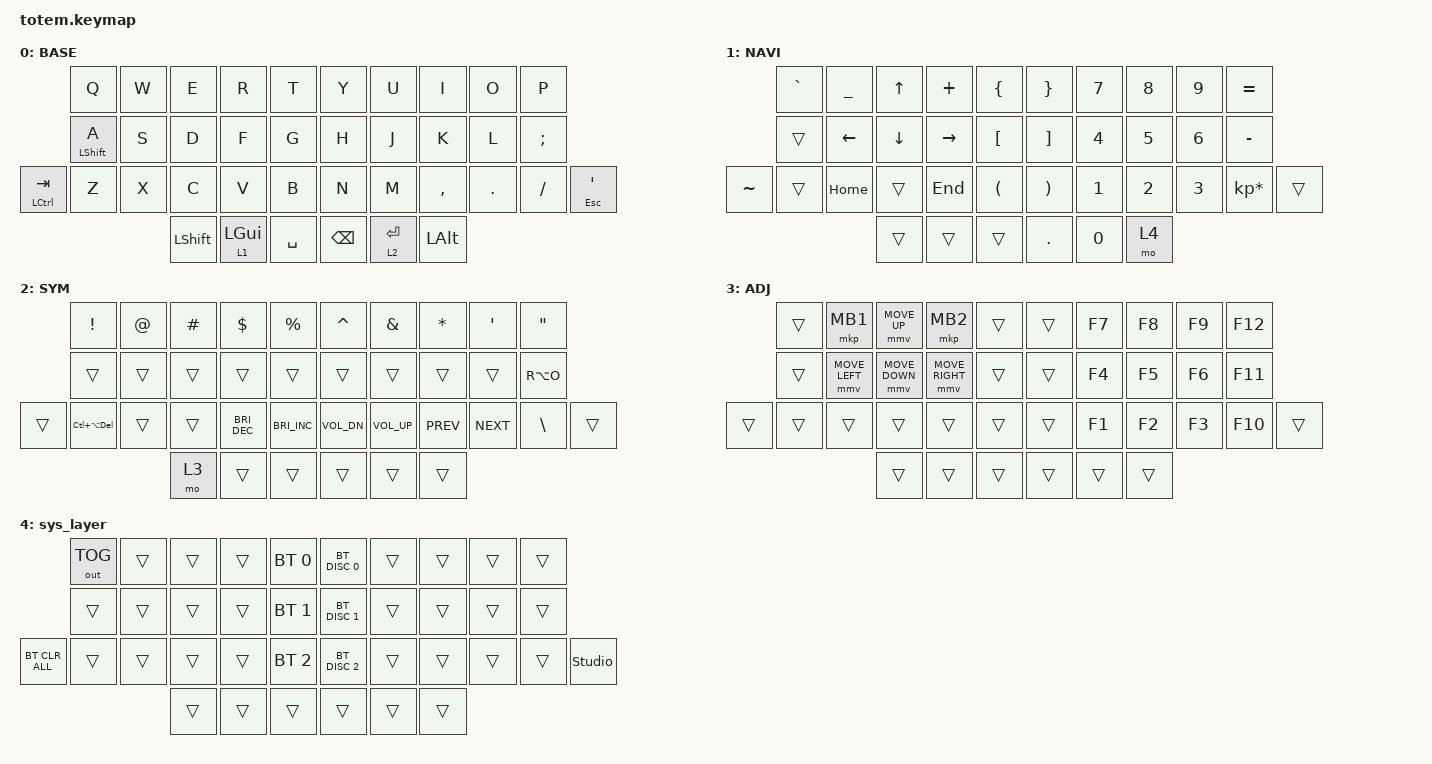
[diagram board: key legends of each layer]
//
//                                                        ▀▀▀▀▀     ▀▀▀▀▀          ▀▀█▀▀
//                                                        ▄▀▀▀▄  ▄  ▄▀▀▀▄  ▄  ▄▀▀▀▄  █  ▄▀▀▀▄
//                                                        █   █  █  █   █  █  █   █  █  █   █
//                                                         ▀▀▀   █   ▀▀▀   █   ▀▀▀   ▀   ▀▀▀
//                                                               █      ▄▄▄█▄▄▄    █   █  
//                                                               ▀      █  █  █     █▄█
//                                                             ▀▀▀▀▀    █  █  █      ▀
//                                                                      ▀  ▀  ▀
//
// ▄▄▄▄▄▄▄▄▄▄▄▄▄▄▄▄▄▄▄▄▄▄▄▄▄▄▄▄▄▄▄▄▄▄▄▄▄▄▄▄▄▄▄▄▄▄▄▄▄▄▄▄▄▄▄▄▄▄▄▄▄▄▄▄▄▄▄▄▄▄▄▄▄▄▄▄▄▄▄▄▄▄▄▄▄▄▄▄▄▄▄▄▄▄▄▄▄▄▄▄▄▄▄▄▄▄▄▄▄▄▄▄▄▄▄▄▄▄▄▄▄▄▄▄▄▄▄▄▄▄▄▄▄▄▄▄▄▄▄▄▄▄▄▄▄▄▄▄▄

#include <behaviors.dtsi>
#include <dt-bindings/zmk/bt.h>
#include <dt-bindings/zmk/keys.h>
#include <dt-bindings/zmk/outputs.h>
#include <dt-bindings/zmk/pointing.h>

#define BASE 0
#define NAV  1
#define SYM  2
#define ADJ  3
#define TVP1 4
#define TVP2 5

&mt {
    quick-tap-ms = <150>;
    global-quick-tap;
    flavor = "tap-preferred";
    tapping-term-ms = <170>;
};

/ {
    combos {
        compatible = "zmk,combos";

        combo_esc {
            timeout-ms = <60>;
            key-positions = <0 1>;
            bindings = <&kp TAB>;
            require-prior-idle-ms = <120>;
        };

        dash {
            bindings = <&kp MINUS>;
            key-positions = <19 31>;
            timeout-ms = <70>;
        };

        tilde_combo {
            bindings = <&kp TILDE>;
            key-positions = <0 20>;
            timeout-ms = <60>;
            require-prior-idle-ms = <100>;
        };

        enter_combo {
            bindings = <&kp ENTER>;
            key-positions = <13 12 11>;
            timeout-ms = <70>;
            require-prior-idle-ms = <100>;
        };

        enter_right_combo {
            bindings = <&kp ENTER>;
            key-positions = <16 18 17>;
            timeout-ms = <70>;
            require-prior-idle-ms = <100>;
        };

        russian_letter_ {
            bindings = <&kp RIGHT_BRACKET>;
            key-positions = <8 9>;
            timeout-ms = <20>;
            require-prior-idle-ms = <100>;
        };

        russian_letter_x {
            bindings = <&kp LEFT_BRACKET>;
            key-positions = <8 7>;
            require-prior-idle-ms = <100>;
            timeout-ms = <20>;
        };
    };

    behaviors {
        mt_left: mt_left {
            compatible = "zmk,behavior-hold-tap";
            label = "MT_LEFT";
            bindings = <&kp>, <&kp>;

            #binding-cells = <2>;
            tapping-term-ms = <400>;
            quick-tap-ms = <170>;
            flavor = "balanced";
            hold-trigger-key-positions = <26 27 16 15 5 6 7 5 6 7 8 9 15 16 17 18 19 26 27 28 29 31 5 6 7 8 9 15 16 17 18 19 26 27 28 29 30 31 35 36 37 32 33 34>;
            require-prior-idle-ms = <50>;
            hold-trigger-on-release;
        };

        mt_right: mt_right {
            compatible = "zmk,behavior-hold-tap";
            label = "MT_RIGHT";
            bindings = <&kp>, <&kp>;

            #binding-cells = <2>;
            tapping-term-ms = <400>;
            quick-tap-ms = <170>;
            flavor = "balanced";
            require-prior-idle-ms = <50>;
            hold-trigger-on-release;
            hold-trigger-key-positions = <0 1 4 10 11 12 13 14 20 21 22 23 24 25 2 35 36 37 3 32 33 34>;
        };

        mt_thumb: mt_thumb {
            compatible = "zmk,behavior-hold-tap";
            label = "MT_THUMB";
            bindings = <&kp>, <&kp>;

            #binding-cells = <2>;
            quick-tap-ms = <220>;
            flavor = "balanced";
            tapping-term-ms = <100>;
            require-prior-idle-ms = <0>;
        };

        mt_shift_left: mt_shift_left {
            compatible = "zmk,behavior-hold-tap";
            label = "MT_SHIFT_LEFT";
            bindings = <&kp>, <&kp>;

            #binding-cells = <2>;
            tapping-term-ms = <175>;
            quick-tap-ms = <175>;
            flavor = "tap-preferred";
            hold-trigger-key-positions = <19 26 27 29 30 31 36 37 35 36 32 33 34 5 6 7 8 9 15 16 17 18 19 26 27 28 29 31>;
            require-prior-idle-ms = <20>;
        };

        mt_shift_right: mt_shift_right {
            compatible = "zmk,behavior-hold-tap";
            label = "MT_SHIFT_RIGHT";
            bindings = <&kp>, <&kp>;

            #binding-cells = <2>;
            tapping-term-ms = <175>;
            quick-tap-ms = <175>;
            flavor = "tap-preferred";
            hold-trigger-key-positions = <0 1 2 3 4 10 11 12 13 14 20 21 22 23 24 25 32 33 34 35 36 37>;
            require-prior-idle-ms = <20>;
        };

        hold_sticky: hold_sticky {
            compatible = "zmk,behavior-hold-tap";
            label = "HOLD_STICKY";
            bindings = <&kp>, <&sk>;

            #binding-cells = <2>;
            flavor = "hold-preferred";
            tapping-term-ms = <150>;
            quick-tap-ms = <220>;
        };

        mt_all: mt_all {
            compatible = "zmk,behavior-hold-tap";
            label = "MT_ALL";
            bindings = <&kp>, <&kp>;

            #binding-cells = <2>;
            tapping-term-ms = <175>;
            quick-tap-ms = <175>;
            flavor = "balanced";
            require-prior-idle-ms = <35>;
            hold-trigger-on-release;
        };
    };

    keymap {
        compatible = "zmk,keymap";

        // ▄▄▄▄▄▄▄▄▄▄▄▄▄▄▄▄▄▄▄▄▄▄▄▄▄▄▄▄▄▄▄▄▄▄▄▄▄▄▄▄▄▄▄▄▄▄▄▄▄▄▄▄▄▄▄▄▄▄▄▄▄▄▄▄▄▄▄▄▄▄▄▄▄▄▄▄▄▄▄▄▄▄▄▄▄▄▄▄▄▄▄▄▄▄▄▄▄▄▄▄▄▄▄▄▄▄▄▄▄▄▄▄▄▄▄▄▄▄▄▄▄▄▄▄▄▄▄▄▄▄▄▄▄▄▄▄▄▄▄▄▄▄▄▄▄▄▄▄▄

        base_layer {
            // ┏━━━━━━━━━━━━━━━━━━━━━━━━━━━━━━━━━━━━━━━┓

            label = "BASE";

            // ┗━━━━━━━━━━━━━━━━━━━━━━━━━━━━━━━━━━━━━━━┛
            //             ┏━━━━━━━━━━━┳━━━━━━━━━━━┳━━━━━━━━━━━┳━━━━━━━━━━━┳━━━━━━━━━━━┓   ┏━━━━━━━━━━━┳━━━━━━━━━━━┳━━━━━━━━━━━┳━━━━━━━━━━━┳━━━━━━━━━━━┓
            //             ┃     Q     ┃     W     ┃     F     ┃     P     ┃     G     ┃   ┃     J     ┃     L     ┃     U     ┃     Y     ┃     ;     ┃
            //             ┣━━━━━━━━━━━╋━━━━━━━━━━━╋━━━━━━━━━━━╋━━━━━━━━━━━╋━━━━━━━━━━━┫   ┣━━━━━━━━━━━╋━━━━━━━━━━━╋━━━━━━━━━━━╋━━━━━━━━━━━╋━━━━━━━━━━━┫
            //             ┃     A     ┃     R     ┃     S     ┃     T     ┃     D     ┃   ┃     H     ┃     N     ┃     E     ┃     I     ┃     O     ┃
            // ┏━━━━━━━━━━━╋━━━━━━━━━━━╋━━━━━━━━━━━╋━━━━━━━━━━━╋━━━━━━━━━━━╋━━━━━━━━━━━┫   ┣━━━━━━━━━━━╋━━━━━━━━━━━╋━━━━━━━━━━━╋━━━━━━━━━━━╋━━━━━━━━━━━╋━━━━━━━━━━━┓
            // ┃     Q     ┃     Z     ┃     X     ┃     C     ┃     V     ┃     B     ┃   ┃     K     ┃     M     ┃     ,     ┃     .     ┃     /     ┃     \     ┃
            // ┗━━━━━━━━━━━┻━━━━━━━━━━━┻━━━━━━━━━━━╋━━━━━━━━━━━╋━━━━━━━━━━━╋━━━━━━━━━━━┫   ┣━━━━━━━━━━━╋━━━━━━━━━━━╋━━━━━━━━━━━╋━━━━━━━━━━━┻━━━━━━━━━━━┻━━━━━━━━━━━┛
            //                                     ┃    DEL    ┃    TAB    ┃    SPC    ┃   ┃   ENTER   ┃           ┃   BSPC    ┃
            //                                     ┗━━━━━━━━━━━┻━━━━━━━━━━━┻━━━━━━━━━━━┛   ┗━━━━━━━━━━━┻━━━━━━━━━━━┻━━━━━━━━━━━┛

            bindings = <
                      &kp Q             &kp W  &kp E           &kp R       &kp T        &kp Y          &kp U        &kp I         &kp O    &kp P
                      &mt LEFT_SHIFT A  &kp S  &kp D           &kp F       &kp G        &kp H          &kp J        &kp K         &kp L    &kp SEMICOLON
&mt LEFT_CONTROL TAB  &kp Z             &kp X  &kp C           &kp V       &kp B        &kp N          &kp M        &kp COMMA     &kp DOT  &kp FSLH       &mt ESCAPE SQT
                                               &kp LEFT_SHIFT  &lt 1 LGUI  &kp SPACE    &kp BACKSPACE  &lt 2 ENTER  &kp LEFT_ALT
            >;
        };

        // ▄▄▄▄▄▄▄▄▄▄▄▄▄▄▄▄▄▄▄▄▄▄▄▄▄▄▄▄▄▄▄▄▄▄▄▄▄▄▄▄▄▄▄▄▄▄▄▄▄▄▄▄▄▄▄▄▄▄▄▄▄▄▄▄▄▄▄▄▄▄▄▄▄▄▄▄▄▄▄▄▄▄▄▄▄▄▄▄▄▄▄▄▄▄▄▄▄▄▄▄▄▄▄▄▄▄▄▄▄▄▄▄▄▄▄▄▄▄▄▄▄▄▄▄▄▄▄▄▄▄▄▄▄▄▄▄▄▄▄▄▄▄▄▄▄▄▄▄▄

        nav_layer {
            // ┏━━━━━━━━━━━━━━━━━━━━━━━━━━━━━━━━━━━━━━━┓

            label = "NAVI";

            // ┗━━━━━━━━━━━━━━━━━━━━━━━━━━━━━━━━━━━━━━━┛
            //             ┏━━━━━━━━━━━┳━━━━━━━━━━━┳━━━━━━━━━━━┳━━━━━━━━━━━┳━━━━━━━━━━━┓   ┏━━━━━━━━━━━┳━━━━━━━━━━━┳━━━━━━━━━━━┳━━━━━━━━━━━┳━━━━━━━━━━━┓
            //             ┃           ┃           ┃     UP    ┃           ┃     {     ┃   ┃     }     ┃     7     ┃     8     ┃     9     ┃     +     ┃
            //             ┣━━━━━━━━━━━╋━━━━━━━━━━━╋━━━━━━━━━━━╋━━━━━━━━━━━╋━━━━━━━━━━━┫   ┣━━━━━━━━━━━╋━━━━━━━━━━━╋━━━━━━━━━━━╋━━━━━━━━━━━╋━━━━━━━━━━━┫
            //             ┃   SHIFT   ┃   LEFT    ┃    DOWN   ┃   RIGHT   ┃     [     ┃   ┃     ]     ┃     4     ┃     5     ┃     6     ┃     -     ┃
            // ┏━━━━━━━━━━━╋━━━━━━━━━━━╋━━━━━━━━━━━╋━━━━━━━━━━━╋━━━━━━━━━━━╋━━━━━━━━━━━┫   ┣━━━━━━━━━━━╋━━━━━━━━━━━╋━━━━━━━━━━━╋━━━━━━━━━━━╋━━━━━━━━━━━╋━━━━━━━━━━━┓
            // ┃           ┃           ┃   P UP    ┃  C LOCK   ┃  P DOWN   ┃     (     ┃   ┃     )     ┃     1     ┃     2     ┃     3     ┃     *     ┃           ┃
            // ┗━━━━━━━━━━━┻━━━━━━━━━━━┻━━━━━━━━━━━╋━━━━━━━━━━━╋━━━━━━━━━━━╋━━━━━━━━━━━┫   ┣━━━━━━━━━━━╋━━━━━━━━━━━╋━━━━━━━━━━━╋━━━━━━━━━━━┻━━━━━━━━━━━┻━━━━━━━━━━━┛
            //                                     ┃           ┃    TAB    ┃    SPC    ┃   ┃    DEL    ┃     0     ┃           ┃
            //                                     ┗━━━━━━━━━━━┻━━━━━━━━━━━┻━━━━━━━━━━━┛   ┗━━━━━━━━━━━┻━━━━━━━━━━━┻━━━━━━━━━━━┛

            bindings = <
           &kp GRAVE  &kp UNDER       &kp UP          &kp PLUS         &kp LBRC    &kp RBRC    &kp N7        &kp N8  &kp N9        &kp EQUAL
           &trans     &kp LEFT_ARROW  &kp DOWN_ARROW  &kp RIGHT_ARROW  &kp LBKT    &kp RBKT    &kp NUMBER_4  &kp N5  &kp NUMBER_6  &kp MINUS
&kp TILDE  &trans     &kp HOME        &trans          &kp END          &kp LPAR    &kp RPAR    &kp NUMBER_1  &kp N2  &kp N3        &kp KP_MULTIPLY  &trans
                                      &trans          &trans           &trans      &kp PERIOD  &kp N0        &mo 4
            >;
        };

        // ▄▄▄▄▄▄▄▄▄▄▄▄▄▄▄▄▄▄▄▄▄▄▄▄▄▄▄▄▄▄▄▄▄▄▄▄▄▄▄▄▄▄▄▄▄▄▄▄▄▄▄▄▄▄▄▄▄▄▄▄▄▄▄▄▄▄▄▄▄▄▄▄▄▄▄▄▄▄▄▄▄▄▄▄▄▄▄▄▄▄▄▄▄▄▄▄▄▄▄▄▄▄▄▄▄▄▄▄▄▄▄▄▄▄▄▄▄▄▄▄▄▄▄▄▄▄▄▄▄▄▄▄▄▄▄▄▄▄▄▄▄▄▄▄▄▄▄▄▄

        sim_layer {
            // ┏━━━━━━━━━━━━━━━━━━━━━━━━━━━━━━━━━━━━━━━┓

            label = "SYM";

            // ┗━━━━━━━━━━━━━━━━━━━━━━━━━━━━━━━━━━━━━━━┛
            //             ┏━━━━━━━━━━━┳━━━━━━━━━━━┳━━━━━━━━━━━┳━━━━━━━━━━━┳━━━━━━━━━━━┓   ┏━━━━━━━━━━━┳━━━━━━━━━━━┳━━━━━━━━━━━┳━━━━━━━━━━━┳━━━━━━━━━━━┓
            //             ┃     !     ┃     @     ┃     #     ┃     $     ┃     %     ┃   ┃     ˆ     ┃     &     ┃     Ü     ┃     '     ┃     "     ┃
            //             ┣━━━━━━━━━━━╋━━━━━━━━━━━╋━━━━━━━━━━━╋━━━━━━━━━━━╋━━━━━━━━━━━┫   ┣━━━━━━━━━━━╋━━━━━━━━━━━╋━━━━━━━━━━━╋━━━━━━━━━━━╋━━━━━━━━━━━┫
            //             ┃     Ä     ┃           ┃    SZ     ┃           ┃           ┃   ┃   MUTE    ┃   YEN     ┃   EURO    ┃  POUND    ┃     Ö     ┃
            // ┏━━━━━━━━━━━╋━━━━━━━━━━━╋━━━━━━━━━━━╋━━━━━━━━━━━╋━━━━━━━━━━━╋━━━━━━━━━━━┫   ┣━━━━━━━━━━━╋━━━━━━━━━━━╋━━━━━━━━━━━╋━━━━━━━━━━━╋━━━━━━━━━━━╋━━━━━━━━━━━┓
            // ┃           ┃  EMAIL1   ┃  EMAIL2   ┃           ┃           ┃           ┃   ┃   VOL-    ┃   VOL+    ┃   LAST    ┃   NEXT    ┃     \     ┃           ┃
            // ┗━━━━━━━━━━━┻━━━━━━━━━━━┻━━━━━━━━━━━╋━━━━━━━━━━━╋━━━━━━━━━━━╋━━━━━━━━━━━┫   ┣━━━━━━━━━━━╋━━━━━━━━━━━╋━━━━━━━━━━━╋━━━━━━━━━━━┻━━━━━━━━━━━┻━━━━━━━━━━━┛
            //                                     ┃           ┃    GIF    ┃    ADJ    ┃   ┃           ┃           ┃           ┃
            //                                     ┗━━━━━━━━━━━┻━━━━━━━━━━━┻━━━━━━━━━━━┛   ┗━━━━━━━━━━━┻━━━━━━━━━━━┻━━━━━━━━━━━┛

            bindings = <
        &kp EXCL            &kp AT  &kp HASH  &kp DLLR       &kp PRCNT               &kp CARET     &kp AMPS      &kp ASTERISK  &kp SQT     &kp DQT
        &trans              &trans  &trans    &trans         &trans                  &trans        &trans        &trans        &trans      &kp RA(O)
&trans  &kp LC(LA(DELETE))  &trans  &trans    &kp C_BRI_DEC  &kp C_BRIGHTNESS_INC    &kp C_VOL_DN  &kp C_VOL_UP  &kp C_PREV    &kp C_NEXT  &kp BSLH   &trans
                                    &mo 3     &trans         &trans                  &trans        &trans        &trans
            >;
        };

        // ▄▄▄▄▄▄▄▄▄▄▄▄▄▄▄▄▄▄▄▄▄▄▄▄▄▄▄▄▄▄▄▄▄▄▄▄▄▄▄▄▄▄▄▄▄▄▄▄▄▄▄▄▄▄▄▄▄▄▄▄▄▄▄▄▄▄▄▄▄▄▄▄▄▄▄▄▄▄▄▄▄▄▄▄▄▄▄▄▄▄▄▄▄▄▄▄▄▄▄▄▄▄▄▄▄▄▄▄▄▄▄▄▄▄▄▄▄▄▄▄▄▄▄▄▄▄▄▄▄▄▄▄▄▄▄▄▄▄▄▄▄▄▄▄▄▄▄▄▄

        adjust_layer {
            // ┏━━━━━━━━━━━━━━━━━━━━━━━━━━━━━━━━━━━━━━━┓

            label = "ADJ";

            // ┗━━━━━━━━━━━━━━━━━━━━━━━━━━━━━━━━━━━━━━━┛
            //             ┏━━━━━━━━━━━┳━━━━━━━━━━━┳━━━━━━━━━━━┳━━━━━━━━━━━┳━━━━━━━━━━━┓   ┏━━━━━━━━━━━┳━━━━━━━━━━━┳━━━━━━━━━━━┳━━━━━━━━━━━┳━━━━━━━━━━━┓
            //             ┃   RESET   ┃ BT CLEAR  ┃  OUT TOG  ┃           ┃           ┃   ┃           ┃    F7     ┃    F8     ┃    F9     ┃    F12    ┃
            //             ┣━━━━━━━━━━━╋━━━━━━━━━━━╋━━━━━━━━━━━╋━━━━━━━━━━━╋━━━━━━━━━━━┫   ┣━━━━━━━━━━━╋━━━━━━━━━━━╋━━━━━━━━━━━╋━━━━━━━━━━━╋━━━━━━━━━━━┫
            //             ┃ BOOTLOAD  ┃ BT NEXT   ┃           ┃           ┃           ┃   ┃           ┃    F4     ┃    F5     ┃    F6     ┃    F11    ┃
            // ┏━━━━━━━━━━━╋━━━━━━━━━━━╋━━━━━━━━━━━╋━━━━━━━━━━━╋━━━━━━━━━━━╋━━━━━━━━━━━┫   ┣━━━━━━━━━━━╋━━━━━━━━━━━╋━━━━━━━━━━━╋━━━━━━━━━━━╋━━━━━━━━━━━╋━━━━━━━━━━━┓
            // ┃           ┃           ┃ BT PREV   ┃           ┃           ┃           ┃   ┃           ┃    F1     ┃    F2     ┃    F3     ┃    F10    ┃           ┃
            // ┗━━━━━━━━━━━┻━━━━━━━━━━━┻━━━━━━━━━━━╋━━━━━━━━━━━╋━━━━━━━━━━━╋━━━━━━━━━━━┫   ┣━━━━━━━━━━━╋━━━━━━━━━━━╋━━━━━━━━━━━╋━━━━━━━━━━━┻━━━━━━━━━━━┻━━━━━━━━━━━┛
            //                                     ┃           ┃           ┃           ┃   ┃           ┃           ┃           ┃
            //                                     ┗━━━━━━━━━━━┻━━━━━━━━━━━┻━━━━━━━━━━━┛   ┗━━━━━━━━━━━┻━━━━━━━━━━━┻━━━━━━━━━━━┛

            bindings = <
        &trans  &mkp MB1        &mmv MOVE_UP    &mkp MB2         &trans    &trans  &kp F7  &kp F8  &kp F9  &kp F12
        &trans  &mmv MOVE_LEFT  &mmv MOVE_DOWN  &mmv MOVE_RIGHT  &trans    &trans  &kp F4  &kp F5  &kp F6  &kp F11
&trans  &trans  &trans          &trans          &trans           &trans    &trans  &kp F1  &kp F2  &kp F3  &kp F10  &trans
                                &trans          &trans           &trans    &trans  &trans  &trans
            >;
        };

        sys_layer {
            bindings = <
                &out OUT_TOG  &trans  &trans  &trans  &bt BT_SEL 0    &bt BT_DISC 0  &trans  &trans  &trans  &trans
                &trans        &trans  &trans  &trans  &bt BT_SEL 1    &bt BT_DISC 1  &trans  &trans  &trans  &trans
&bt BT_CLR_ALL  &trans        &trans  &trans  &trans  &bt BT_SEL 2    &bt BT_DISC 2  &trans  &trans  &trans  &trans  &studio_unlock
                                      &trans  &trans  &trans          &trans         &trans  &trans
            >;
        };

        // ▄▄▄▄▄▄▄▄▄▄▄▄▄▄▄▄▄▄▄▄▄▄▄▄▄▄▄▄▄▄▄▄▄▄▄▄▄▄▄▄▄▄▄▄▄▄▄▄▄▄▄▄▄▄▄▄▄▄▄▄▄▄▄▄▄▄▄▄▄▄▄▄▄▄▄▄▄▄▄▄▄▄▄▄▄▄▄▄▄▄▄▄▄▄▄▄▄▄▄▄▄▄▄▄▄▄▄▄▄▄▄▄▄▄▄▄▄▄▄▄▄▄▄▄▄▄▄▄▄▄▄▄▄▄▄▄▄▄▄▄▄▄▄▄▄▄▄▄▄
        // ▄▄▄▄▄▄▄▄▄▄▄▄▄▄▄▄▄▄▄▄▄▄▄▄▄▄▄▄▄▄▄▄▄▄▄▄▄▄▄▄▄▄▄▄▄▄▄▄▄▄▄▄▄▄▄▄▄▄▄▄▄▄▄▄▄▄▄▄▄▄▄▄▄▄▄▄▄▄▄▄▄▄▄▄▄▄▄▄▄▄▄▄▄▄▄▄▄▄▄▄▄▄▄▄▄▄▄▄▄▄▄▄▄▄▄▄▄▄▄▄▄▄▄▄▄▄▄▄▄▄▄▄▄▄▄▄▄▄▄▄▄▄▄▄▄▄▄▄▄
    };
};
